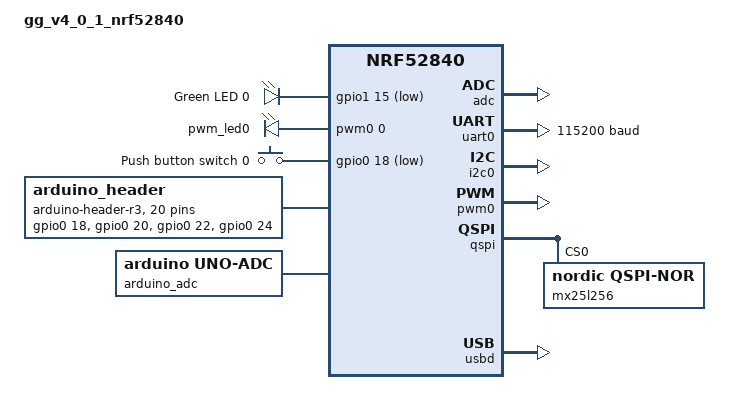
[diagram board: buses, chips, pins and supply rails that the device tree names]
/*
 * Copyright (c) 2017 Linaro Limited
 *
 * SPDX-License-Identifier: Apache-2.0
 */

 /dts-v1/;
 #include <nordic/nrf52840_qiaa.dtsi>
 #include "gg_v4_0_1_nrf52840-pinctrl.dtsi"
 
 / {
	 model = "gg_v4_0_1_nrf52840";
	 compatible = "nordic,nrf52840-dk-nrf52840";
 
	 chosen {
		zephyr,console = &uart0;
		zephyr,shell-uart = &uart0;
		 zephyr,uart-mcumgr = &uart0;
		 zephyr,bt-mon-uart = &uart0;
		 zephyr,bt-c2h-uart = &uart0;
		 zephyr,sram = &sram0;
		 zephyr,flash = &flash0;
		 zephyr,code-partition = &slot0_partition;
		 //zephyr,i2s = &i2s0;
	 };
 
	 leds {
		 compatible = "gpio-leds";
		 led0: led_0 {
			 gpios = <&gpio1 15 GPIO_ACTIVE_LOW>;
			 label = "Green LED 0";
		 };
	 };
 
	 pwmleds {
		 compatible = "pwm-leds";
		 pwm_led0: pwm_led_0 {
			 pwms = <&pwm0 0 PWM_MSEC(20) PWM_POLARITY_INVERTED>;
		 };
	 };
	buttons {
		 compatible = "gpio-keys";
		 button0: button_0 {
			 gpios = <&gpio0 18 (GPIO_PULL_UP | GPIO_ACTIVE_LOW)>;			//using reset key
			 label = "Push button switch 0";
		 };
	 };
	 
	 arduino_header: connector {
		 compatible = "arduino-header-r3";
		 #gpio-cells = <2>;
		 gpio-map-mask = <0xffffffff 0xffffffc0>;
		 gpio-map-pass-thru = <0 0x3f>;
		 
		 gpio-map = <0 0 &gpio0 18 0>, // D9 - RESET -- 09
					<1 0 &gpio0 20 0>, // D10 - QSPI_SIO_1/SDI -- 10 MISO
					<2 0 &gpio0 22 0>, // D11 - QSPI_SIO_2 -- 11
					<3 0 &gpio0 24 0>, // D12 - QSPI_SIO_3 -- 12
					<4 0 &gpio0 26 0>, // D13 - QSPI_CS -- 13 SCK
					<5 0 &gpio0 2 0>, // A0 - AIN2 -- 14
					<6 0 &gpio0 4 0>, // A1 - AIN0/LF -- 15
					<7 0 &gpio0 29 0>, // A2 - AIN5/LF -- 16
					<8 0 &gpio0 31 0>, // A3 - AIN7/LF -- 17
					<9 0 &gpio1 13 0>, // D18 - AMP_SD_MODE/LF -- 18
					<10 0 &gpio1 15 0>, // D19 - BLUE_LED/LF -- 19
					<11 0 &gpio0 6 0>, // D2 - AMP_DIN -- 02
					<12 0 &gpio0 8 0>, // D3 - AMP_BCLK -- 03
					<13 0 &gpio0 9 0>, // D4 - ACC_INT_1_XL/LF -- 04
					<14 0 &gpio0 10 0>, // D5 - ACC_INT_2_XL / CHRG# -- 05
					<15 0 &gpio0 12 0>, // D6 - AMP_LRCLK -- 06
					<16 0 &gpio0 13 0>, // D7 - SDA -- 07
					<17 0 &gpio0 15 0>, // D8 - SCL -- 08
					<18 0 &gpio1 0 0>, // D0 - QSPI_SIO_0/SDO 00 MO--SI
					<19 0 &gpio1 9 0>; // D1 - QSPI_SCLK -- 01 SS

		/*{ P1_0, NULL, NULL, NULL }, // D0 - QSPI_SIO_0/SDO 00 MO--SI
			{ P1_9, NULL, NULL, NULL }, // D1 - QSPI_SCLK -- 01 SS
			{ P0_6, NULL, NULL, NULL }, // D2 - AMP_DIN -- 02
			{ P0_8, NULL, NULL, NULL }, // D3 - AMP_BCLK -- 03
			{ P0_9, NULL, NULL, NULL }, // D4 - ACC_INT_1_XL/LF -- 04
			{ P0_10, NULL, NULL, NULL }, // D5 - ACC_INT_2_XL / CHRG# -- 05
			{ P0_12, NULL, NULL, NULL }, // D6 - AMP_LRCLK -- 06
			{ P0_13, NULL, NULL, NULL }, // D7 - SDA -- 07
			{ P0_15, NULL, NULL, NULL }, // D8 - SCL -- 08
			{ P0_18, NULL, NULL, NULL }, // D9 - RESET -- 09
			{ P0_20, NULL, NULL, NULL }, // D10 - QSPI_SIO_1/SDI -- 10 MISO
			{ P0_22, NULL, NULL, NULL }, // D11 - QSPI_SIO_2 -- 11
			{ P0_24, NULL, NULL, NULL }, // D12 - QSPI_SIO_3 -- 12
			{ P0_26, NULL, NULL, NULL }, // D13 - QSPI_CS -- 13 SCK
			{ P0_2, NULL, NULL, NULL }, // A0 - AIN2 -- 14
			{ P0_4, NULL, NULL, NULL }, // A1 - AIN0/LF -- 15
			{ P0_29, NULL, NULL, NULL }, // A2 - AIN5/LF -- 16
			{ P0_31, NULL, NULL, NULL }, // A3 - AIN7/LF -- 17
			{ P1_13, NULL, NULL, NULL }, // D18 - AMP_SD_MODE/LF -- 18
			{ P1_15, NULL, NULL, NULL } // D19 - BLUE_LED/LF -- 19   */

		// gpio-map = <0 0 &gpio0 3 0>,	/* A0 */
		//		<1 0 &gpio0 4 0>,	/* A1 */
		//		<2 0 &gpio0 28 0>,	/* A2 */
		//		<3 0 &gpio0 29 0>,	/* A3 */
		//		<4 0 &gpio0 30 0>,	/* A4 */
		//		<5 0 &gpio0 31 0>,	/* A5 */
		//		<6 0 &gpio1 1 0>,	/* D0 */
		//		<7 0 &gpio1 2 0>,	/* D1 */
		//		<8 0 &gpio1 3 0>,	/* D2 */
		//		<9 0 &gpio1 4 0>,	/* D3 */
		//		<10 0 &gpio1 5 0>,	/* D4 */
		//		<11 0 &gpio1 6 0>,	/* D5 */
		//		<12 0 &gpio1 7 0>,	/* D6 */
		//		<13 0 &gpio1 8 0>,	/* D7 */
		//		<14 0 &gpio1 10 0>,	/* D8 */
		//		<15 0 &gpio1 11 0>,	/* D9 */
		//		<16 0 &gpio1 12 0>,	/* D10 */
		//		<17 0 &gpio1 13 0>,	/* D11 */
		//		<18 0 &gpio1 14 0>,	/* D12 */
		//		<19 0 &gpio1 15 0>,	/* D13 */
		//		<20 0 &gpio0 26 0>,	/* D14 */
		//		<21 0 &gpio0 27 0>;	/* D15 */
				
	 };
 
	 arduino_adc: analog-connector {
		 compatible = "arduino,uno-adc";
		 #io-channel-cells = <1>;
		 io-channel-map = <0 &adc 1>,	/* A0 = P0.3 = AIN1 */
				  <1 &adc 2>,	/* A1 = P0.4 = AIN2 */
				  <2 &adc 4>,	/* A2 = P0.28 = AIN4 */
				  <3 &adc 5>,	/* A3 = P0.29 = AIN5 */
				  <4 &adc 6>,	/* A4 = P0.30 = AIN6 */
				  <5 &adc 7>;	/* A5 = P0.31 = AIN7 */
	 };
 
	 /* These aliases are provided for compatibility with samples */
	 aliases {
		 led0 = &led0;
		 led1 = &led0;
		 led2 = &led0;
		 led3 = &led0;
		 pwm-led0 = &pwm_led0;
		 sw0 = &button0;
		 sw1 = &button0;
		 sw2 = &button0;
		 sw3 = &button0;
		 bootloader-led0 = &led0;
		 mcuboot-button0 = &button0;
		 mcuboot-led0 = &led0;
		 watchdog0 = &wdt0;
		 spi-flash0 = &mx25l256;		//check that !!
	 };
 };
 
 &adc {
	 status = "okay";
 };
 
 &gpiote {
	 status = "okay";
 };
 
 &gpio0 {
	 status = "okay";
 };
 
 &gpio1 {
	 status = "okay";
 };

 /*
 &i2s0 {
	status = "okay";
	sck-pin = <12>;		//P0.8 AMP_BCLK
	lrck-pin = <15>;	//P0.12 AMP_LRCLK
	//sdout-pin = <34>;
	sdin-pin = <11>;	//P0.6 AMP_DIN
};
 */

 &uart0 {
	 compatible = "nordic,nrf-uarte";
	 status = "okay";
	 current-speed = <115200>;
	 pinctrl-0 = <&uart0_default>;
	 pinctrl-1 = <&uart0_sleep>;
	 pinctrl-names = "default", "sleep";
 };
 /*
 arduino_serial: &uart1 {
	 status = "okay";
	 current-speed = <115200>;
	 pinctrl-0 = <&uart1_default>;
	 pinctrl-1 = <&uart1_sleep>;
	 pinctrl-names = "default", "sleep";
 };
 */
 arduino_i2c: &i2c0 {
	 compatible = "nordic,nrf-twi";
	 status = "okay";
	 pinctrl-0 = <&i2c0_default>;
	 pinctrl-1 = <&i2c0_sleep>;
	 pinctrl-names = "default", "sleep";
 };
 /*
 &i2c1 {
	 compatible = "nordic,nrf-twi";
	 //Cannot be used together with spi1. 
	 // status = "okay"; 
	 pinctrl-0 = <&i2c1_default>;
	 pinctrl-1 = <&i2c1_sleep>;
	 pinctrl-names = "default", "sleep";
 };
 */
 &pwm0 {
	 status = "okay";
	 pinctrl-0 = <&pwm0_default>;
	 pinctrl-1 = <&pwm0_sleep>;
	 pinctrl-names = "default", "sleep";
 };
 /*
 &spi0 {
	 compatible = "nordic,nrf-spi";
	 // Cannot be used together with i2c0. 
	 // status = "okay"; 
	 pinctrl-0 = <&spi0_default>;
	 pinctrl-1 = <&spi0_sleep>;
	 pinctrl-names = "default", "sleep";
 };
 
 &spi1 {
	 compatible = "nordic,nrf-spi";
	 status = "okay";
	 pinctrl-0 = <&spi1_default>;
	 pinctrl-1 = <&spi1_sleep>;
	 pinctrl-names = "default", "sleep";
 };
 
 &spi2 {
	 compatible = "nordic,nrf-spi";
	 status = "disabled";
	 pinctrl-0 = <&spi2_default>;
	 pinctrl-1 = <&spi2_sleep>;
	 pinctrl-names = "default", "sleep";
 };
 */
 &qspi {
	 status = "okay";
	 pinctrl-0 = <&qspi_default>;
	 pinctrl-1 = <&qspi_sleep>;
	 pinctrl-names = "default", "sleep";
	
	 mx25l256: mx25l256@0 {
		compatible = "nordic,qspi-nor";
		reg = <0>;
		writeoc = "pp4io";
		readoc = "read4io";
		sck-frequency = <8000000>;
		jedec-id = [c2 20 19];
		sfdp-bfp = [
			e5 20 f1 ff  ff ff ff 03  44 eb 08 6b  08 3b 04 bb
			ee ff ff ff  ff ff 00 ff  ff ff 00 ff  0c 20 0f 52
			10 d8 00 ff  23 72 f5 00  82 ed 04 cc  44 83 68 44
			30 b0 30 b0  f7 c4 d5 5c  00 be 29 ff  f0 d0 ff ff
		];
		size = <268435456>;
		has-dpd;
		t-enter-dpd = <10000>;
		t-exit-dpd = <35000>;
	};


	 /*
	 mx25r64: mx25r6435f@0 {
		 compatible = "nordic,qspi-nor";
		 reg = <0>;
		 writeoc = "pp4io";
		 readoc = "read4io";
		 sck-frequency = <8000000>;
		 jedec-id = [c2 28 17];
		 sfdp-bfp = [
			 e5 20 f1 ff  ff ff ff 03  44 eb 08 6b  08 3b 04 bb
			 ee ff ff ff  ff ff 00 ff  ff ff 00 ff  0c 20 0f 52
			 10 d8 00 ff  23 72 f5 00  82 ed 04 cc  44 83 68 44
			 30 b0 30 b0  f7 c4 d5 5c  00 be 29 ff  f0 d0 ff ff
		 ];
		 size = <67108864>;
		 has-dpd;
		 t-enter-dpd = <10000>;
		 t-exit-dpd = <35000>;
	 };
	 */
 };
 /*
 arduino_spi: &spi3 {
	 status = "okay";
	 cs-gpios = <&arduino_header 16 GPIO_ACTIVE_LOW>; // D10 
	 pinctrl-0 = <&spi3_default>;
	 pinctrl-1 = <&spi3_sleep>;
	 pinctrl-names = "default", "sleep";
 };
 */

 &flash0 {
 
	 partitions {
		 compatible = "fixed-partitions";
		 #address-cells = <1>;
		 #size-cells = <1>;
 
		 boot_partition: partition@0 {
			 label = "mcuboot";
			 reg = <0x00000000 0x0000C000>;
		 };
		 slot0_partition: partition@c000 {
			 label = "image-0";
			 reg = <0x0000C000 0x00067000>;
		 };
		 slot1_partition: partition@73000 {
			 label = "image-1";
			 reg = <0x00073000 0x00067000>;
		 };
		 scratch_partition: partition@da000 {
			 label = "image-scratch";
			 reg = <0x000da000 0x0001e000>;
		 };
 
		 /*
		  * The flash starting at 0x000f8000 and ending at
		  * 0x000fffff is reserved for use by the application.
		  */
 
		 /*
		  * Storage partition will be used by FCB/LittleFS/NVS
		  * if enabled.
		  */
		 storage_partition: partition@f8000 {
			 label = "storage";
			 reg = <0x000f8000 0x00008000>;
		 };
	 };
 };
 
 zephyr_udc0: &usbd {
	compatible = "nordic,nrf-usbd";
	status = "okay";
};
 
